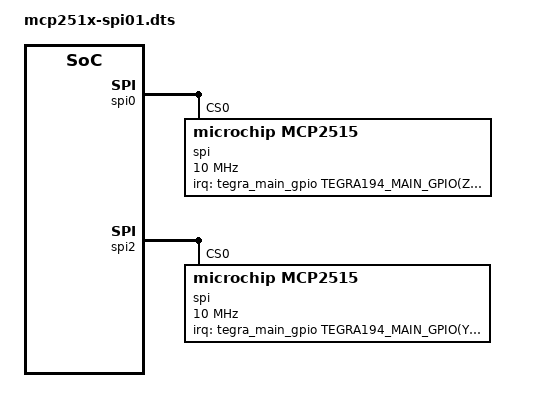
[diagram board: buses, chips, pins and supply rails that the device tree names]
// SPDX-License-Identifier: GPL-2.0-only
/*
 * Jetson Device-tree overlay for
 *   2 Channel CAN BUS FD Shield, MCP2518FD (RPi Compatible).
 *
 * Copyright (c) 2020 Seeed Technology Co,Ltd - https://www.seeed.cc.
 * All rights reserved.
 *
 */

/*
 * All three configurations work.
 *
 * 1. cs_gpios as chip selects, set MCP_USING_CS_GPIOS to 1
 * 2. controller hardware chip selects, with nvidia,always-hw-cs
 * 3. controller software chip selects, without nvidia,always-hw-cs
 *
 */
/dts-v1/;
/plugin/;

//#include <dt-bindings/pinctrl/tegra210-p3448-0000-p3449-0000-a02.h>
#include <dt-bindings/pinctrl/tegra194-p3668-all-p3509-0000.h>
#include <dt-bindings/interrupt-controller/irq.h>
#include <dt-bindings/pinctrl/pinctrl-tegra.h>
#include <dt-bindings/gpio/tegra-gpio.h>

/ {
	overlay-name = "mcp251x-spi01";
	jetson-header-name = "Jetson 40pin Header";
	compatible = JETSON_COMPATIBLE;

	fragment@1 {
		target-path = "/";
		__overlay__ {
			can_clock: can_clock {
				compatible = "fixed-clock";
				#clock-cells = <0>;
				clock-frequency = <20000000>;
				clock-accuracy = <100>;
			};
		};
	};

	fragment@2 {
		target = <&spi0>;
		__overlay__ {
			#address-cells = <1>;
			#size-cells = <0>;
			pinctrl-names = "default";
			pinctrl-0 = <&spi0_pinmux>;
			
			spi@0 {
				status = "okay";
				compatible = "microchip,mcp2515";
				reg = <0x0>;
				spi-max-frequency = <10000000>;
				nvidia,enable-hw-based-cs;
				clocks = <&can_clock>;
				interrupt-parent = <&tegra_main_gpio>;
				interrupts = <TEGRA194_MAIN_GPIO(Z, 7) 1>;
			};
		};
	};

	fragment@3 {
		target = <&spi2>;
		__overlay__ {
			#address-cells = <1>;
			#size-cells = <0>;
			pinctrl-names = "default";
			pinctrl-0 = <&spi2_pinmux>;
			
			spi@0 {
				status = "okay";
				compatible = "microchip,mcp2515";
				reg = <0x0>;
				spi-max-frequency = <10000000>;
				nvidia,enable-hw-based-cs;
				clocks = <&can_clock>;
				interrupt-parent = <&tegra_main_gpio>;
				interrupts = <TEGRA194_MAIN_GPIO(Y, 4) 1>;
			};
		};
	};

	fragment@4 {
		target = <&pinmux>;

		__overlay__ {
			spi0_pinmux: spi0-pinmux {
				hdr40-pin19 {
					nvidia,pins = "spi1_mosi_pz5";
					nvidia,function = "spi1";
					nvidia,pull = <TEGRA_PIN_PULL_DOWN>;
					nvidia,tristate = <TEGRA_PIN_DISABLE>;
					nvidia,enable-input = <TEGRA_PIN_DISABLE>;
					nvidia,lpdr = <TEGRA_PIN_DISABLE>;
				};
				hdr40-pin21 {
					nvidia,pins = "spi1_miso_pz4";
					nvidia,function = "spi1";
					nvidia,pull = <TEGRA_PIN_PULL_DOWN>;
					nvidia,tristate = <TEGRA_PIN_ENABLE>;
					nvidia,enable-input = <TEGRA_PIN_ENABLE>;
					nvidia,lpdr = <TEGRA_PIN_DISABLE>;
				};
				hdr40-pin23 {
					nvidia,pins = "spi1_sck_pz3";
					nvidia,function = "spi1";
					nvidia,pull = <TEGRA_PIN_PULL_DOWN>;
					nvidia,tristate = <TEGRA_PIN_DISABLE>;
					nvidia,enable-input = <TEGRA_PIN_DISABLE>;
					nvidia,lpdr = <TEGRA_PIN_DISABLE>;
				};
				hdr40-pin24 {
					nvidia,pins = "spi1_cs0_pz6";
					nvidia,function = "spi1";
					nvidia,pull = <TEGRA_PIN_PULL_UP>;
					nvidia,tristate = <TEGRA_PIN_DISABLE>;
					nvidia,enable-input = <TEGRA_PIN_DISABLE>;
					nvidia,lpdr = <TEGRA_PIN_DISABLE>;
				};
				hdr40-pin26 {
					nvidia,pins = "spi1_cs1_pz7";
					nvidia,function = "rsvd1";
					nvidia,pull = <TEGRA_PIN_PULL_UP>;
					nvidia,tristate = <TEGRA_PIN_ENABLE>;
					nvidia,enable-input = <TEGRA_PIN_ENABLE>;
					nvidia,lpdr = <TEGRA_PIN_DISABLE>;
				};
			};

			spi2_pinmux: spi2-pinmux {
				hdr40-pin13 {
					nvidia,pins = "spi3_sck_py0";
					nvidia,function = "spi3";
					nvidia,pull = <TEGRA_PIN_PULL_DOWN>;
					nvidia,tristate = <TEGRA_PIN_DISABLE>;
					nvidia,enable-input = <TEGRA_PIN_DISABLE>;
					nvidia,io-high-voltage = <TEGRA_PIN_DISABLE>;
					nvidia,lpdr = <TEGRA_PIN_DISABLE>;
				};

				hdr40-pin22 {
					nvidia,pins = "spi3_miso_py1";
					nvidia,function = "spi3";
					nvidia,pull = <TEGRA_PIN_PULL_DOWN>;
					nvidia,tristate = <TEGRA_PIN_ENABLE>;
					nvidia,enable-input = <TEGRA_PIN_ENABLE>;
					nvidia,io-high-voltage = <TEGRA_PIN_DISABLE>;
					nvidia,lpdr = <TEGRA_PIN_DISABLE>;
				};

				hdr40-pin37 {
					nvidia,pins = "spi3_mosi_py2";
					nvidia,function = "spi3";
					nvidia,pull = <TEGRA_PIN_PULL_DOWN>;
					nvidia,tristate = <TEGRA_PIN_DISABLE>;
					nvidia,enable-input = <TEGRA_PIN_DISABLE>;
					nvidia,io-high-voltage = <TEGRA_PIN_DISABLE>;
					nvidia,lpdr = <TEGRA_PIN_DISABLE>;
				};

				hdr40-pin18 {
					nvidia,pins = "spi3_cs0_py3";
					nvidia,function = "spi3";
					nvidia,pull = <TEGRA_PIN_PULL_DOWN>;
					nvidia,tristate = <TEGRA_PIN_DISABLE>;
					nvidia,enable-input = <TEGRA_PIN_DISABLE>;
					nvidia,io-high-voltage = <TEGRA_PIN_DISABLE>;
					nvidia,lpdr = <TEGRA_PIN_DISABLE>;
				};

				hdr40-pin16 {
					nvidia,pins = "spi3_cs1_py4";
					nvidia,function = "rsvd1";
					nvidia,pull = <TEGRA_PIN_PULL_UP>;
					nvidia,tristate = <TEGRA_PIN_ENABLE>;
					nvidia,enable-input = <TEGRA_PIN_ENABLE>;
					nvidia,io-high-voltage = <TEGRA_PIN_DISABLE>;
					nvidia,lpdr = <TEGRA_PIN_DISABLE>;
				};
			};
		};
	};
};
